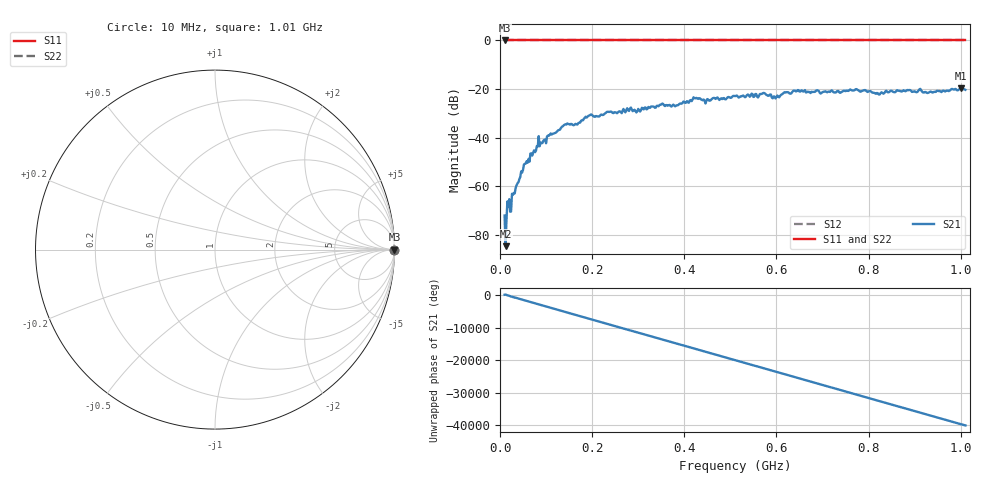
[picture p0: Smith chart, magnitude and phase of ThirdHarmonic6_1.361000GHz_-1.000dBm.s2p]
! 8/16/2025 3:22:26 PM
! C:\ANRITSUVNA\TEMP\TEMP.S2P
! CHANNEL.1
! TR.MEASUREMENT
! RAW.DATA
! RF.CORRECTION.OFF
! AVERAGING.OFF
! IF.BANDWIDTH: 5KHZ
! SWEEPTYPE:  FREQ.SWEEP(Linear)
! Reference Plane Port Info
! PORT:  PORT1  PORT2
! DISTANCE:  0  m  0  m
! TIME:  0  s  0  s
! PHASE.OFFSET:  0  deg.  0  deg.
! LOSS:  0  dB  0  dB
! REF.LOSS:  0  dB  0  dB
! REF.FREQ:  0  Hz  0  Hz
! Power Info
! POWER:  -20  dBm  -20  dBm
! EFF.POWER:  -20  dBm  -20  dBm
! SOURCE.ATTEN:  0  dB  0  dB
! TEST.ATTEN:  0  dB  0  dB
# GHZ S RI R 50.0
! FREQ.GHZ  S11RE  S11IM  S21RE  S21IM  S12RE  S12IM  S22RE  S22IM
!; PortSelection: Port_12
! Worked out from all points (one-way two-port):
!   501 points, 10 MHz to 1.01 GHz, reference 50 ohm
!   highest |S21| = -19.69 dB at 1 GHz (marker M1); lowest = -84.6 dB at 12 MHz (marker M2)
!   lowest |S11| = 0.0 dB at 10 MHz (marker M3)
!   |S11| at or under -10 dB: nowhere
!   |S22| runs from 0.0 to 0.0 dB; largest |S21 - S12| = 1.1
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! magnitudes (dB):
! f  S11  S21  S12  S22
! 10 MHz  0.0  -72.0  0.0  0.0
! 12 MHz  0.0  -84.6  0.0  0.0
! 50 MHz  0.0  -53.2  0.0  0.0
! 84 MHz  0.0  -39.3  0.0  0.0
! 142 MHz  0.0  -34.5  0.0  0.0
! 164 MHz  0.0  -34.3  0.0  0.0
! 178 MHz  0.0  -32.8  0.0  0.0
! 196 MHz  0.0  -30.6  0.0  0.0
! 280 MHz  0.0  -29.0  0.0  0.0
! 300 MHz  0.0  -28.2  0.0  0.0
! 344 MHz  0.0  -27.0  0.0  0.0
! 382 MHz  0.0  -26.8  0.0  0.0
! 424 MHz  0.0  -23.8  0.0  0.0
! 444 MHz  0.0  -24.7  0.0  0.0
! 510 MHz  0.0  -22.9  0.0  0.0
! 572 MHz  0.0  -21.6  0.0  0.0
! 594 MHz  0.0  -23.0  0.0  0.0
! 642 MHz  0.0  -20.9  0.0  0.0
! 678 MHz  0.0  -21.2  0.0  0.0
! 844 MHz  0.0  -21.3  0.0  0.0
! 1 GHz  0.0  -19.7  0.0  0.0
! 1.01 GHz  0.0  -20.3  0.0  0.0
